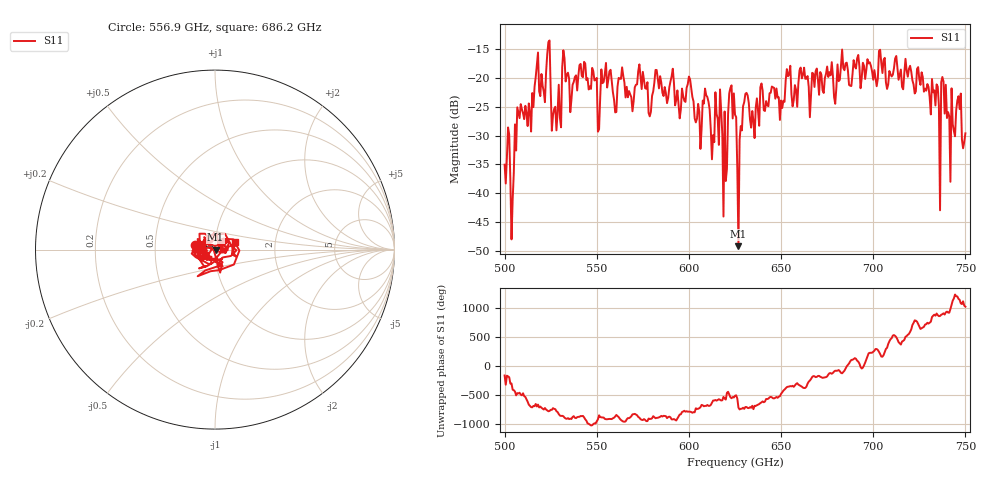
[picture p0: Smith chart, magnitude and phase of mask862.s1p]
!Created with skrf (http://scikit-rf.org).
# GHz S MA R 50.0
!freq magS11 angS11
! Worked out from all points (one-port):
!   401 points, 500 GHz to 750 GHz, reference 50 ohm
!   lowest |S11| = -49.2 dB at 626.9 GHz (marker M1), VSWR 1.01, Z = 50.3 + j0.0147 ohm
!   |S11| at or under -10 dB: start of sweep to end of sweep
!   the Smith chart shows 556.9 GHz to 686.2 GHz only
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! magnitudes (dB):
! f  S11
! 500 GHz  -35.1
! 504.4 GHz  -41.1
! 508.1 GHz  -27.0
! 513.1 GHz  -24.4
! 517.5 GHz  -17.7
! 523.8 GHz  -13.7
! 526.9 GHz  -25.4
! 531.2 GHz  -18.1
! 550.6 GHz  -29.3
! 562.5 GHz  -20.1
! 593.8 GHz  -22.2
! 610 GHz  -23.3
! 612.5 GHz  -34.1
! 616.9 GHz  -22.0
! 619.4 GHz  -25.8
! 622.5 GHz  -21.7
! 625 GHz  -26.4
! 626.9 GHz  -49.2
! 630.6 GHz  -22.8
! 634.4 GHz  -25.7
! 656.2 GHz  -24.9
! 687.5 GHz  -21.3
! 718.8 GHz  -19.8
! 735 GHz  -21.5
! 738.1 GHz  -20.6
! 743.1 GHz  -28.0
! 746.2 GHz  -23.2
! 750 GHz  -29.6
